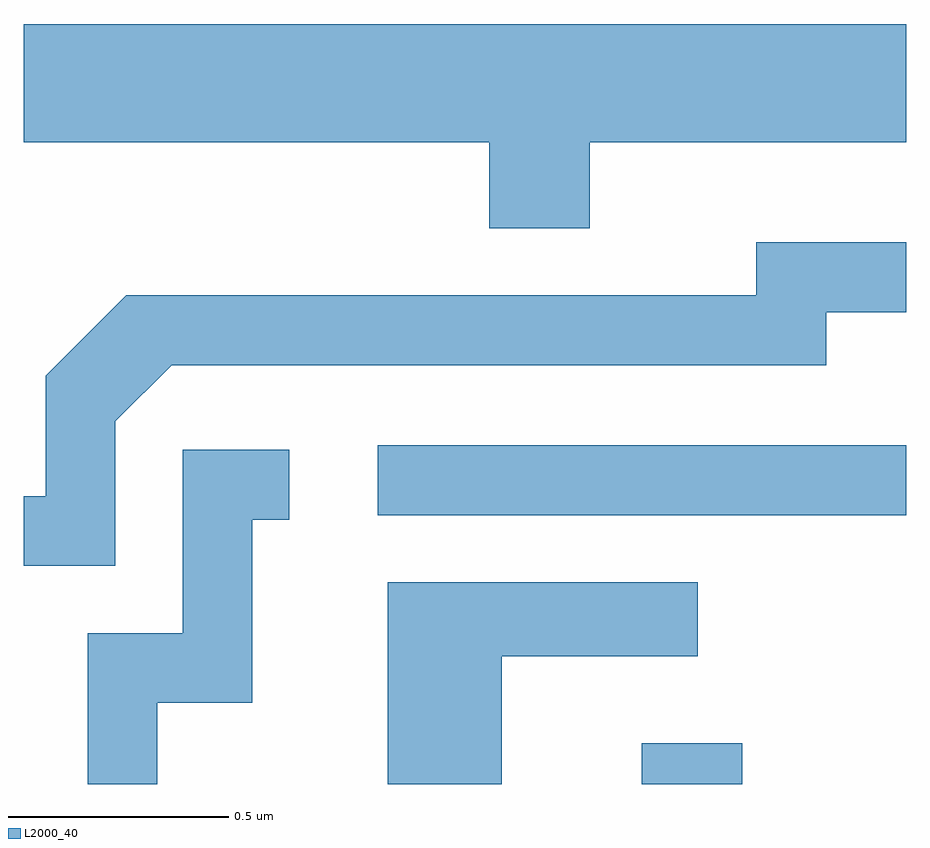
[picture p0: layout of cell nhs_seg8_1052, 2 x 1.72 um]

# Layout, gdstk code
import gdstk
lib = gdstk.Library(unit=1e-6, precision=1e-09)
def R(c, l, rs):  # rectangles x0, y0, x1, y1
    for r in rs: c.add(gdstk.rectangle(r[:2], r[2:], *l))
def P(c, l, *ps):  # polygons
    for p in ps: c.add(gdstk.Polygon(p, *l))
L2000_40 = (2000, 40)

nhs_seg8_1052 = lib.new_cell('nhs_seg8_1052')
R(nhs_seg8_1052, L2000_40, [(194.011,1899.342,194.239,1899.434), (193.413,1899.951,194.611,1900.109)])
P(nhs_seg8_1052, L2000_40, [(193.894,1900.796),(194.611,1900.796),(194.611,1901.064),(192.611,1901.064),(192.611,1900.796),(193.666,1900.796),(193.666,1900.601),(193.894,1900.601)],
  [(192.819,1900.164),(192.947,1900.291),(194.429,1900.291),(194.429,1900.411),(194.611,1900.411),(194.611,1900.569),(194.271,1900.569),(194.271,1900.449),(192.844,1900.449),(192.661,1900.267),(192.661,1899.994),(192.611,1899.994),(192.611,1899.836),(192.819,1899.836)],
  [(192.914,1899.526),(193.129,1899.526),(193.129,1899.941),(193.213,1899.941),(193.213,1900.099),(192.971,1900.099),(192.971,1899.684),(192.756,1899.684),(192.756,1899.342),(192.914,1899.342)],
  [(193.694,1899.631),(194.138,1899.631),(194.138,1899.799),(193.436,1899.799),(193.436,1899.342),(193.694,1899.342)])

lib.write_gds('nhs_seg8_1052.gds')
